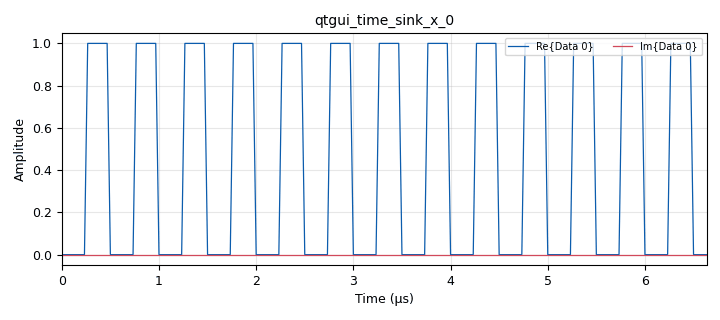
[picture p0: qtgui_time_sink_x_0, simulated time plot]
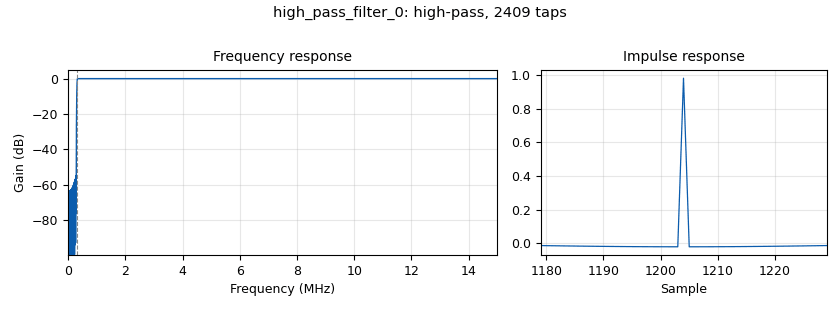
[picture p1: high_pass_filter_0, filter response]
<?xml version='1.0' encoding='utf-8'?>
<?grc format='1' created='3.7.11'?>
<flow_graph>
<block>
<key>options</key>
<param><key>id</key><value>top_block</value></param>
<param><key>generate_options</key><value>qt_gui</value></param>
</block>
<block>
<key>variable</key>
<param><key>id</key><value>LO_freq</value></param>
<param><key>value</key><value>100e6</value></param>
</block>
<block>
<key>variable</key>
<param><key>id</key><value>bw</value></param>
<param><key>value</key><value>5e6</value></param>
</block>
<block>
<key>variable</key>
<param><key>id</key><value>samp_rate</value></param>
<param><key>value</key><value>30e6</value></param>
</block>
<block>
<key>analog_sig_source_x</key>
<param><key>id</key><value>analog_sig_source_x_0</value></param>
<param><key>amp</key><value>1</value></param>
<param><key>freq</key><value>2e6</value></param>
<param><key>offset</key><value>0</value></param>
<param><key>type</key><value>float</value></param>
<param><key>samp_rate</key><value>samp_rate</value></param>
<param><key>waveform</key><value>analog.GR_SQR_WAVE</value></param>
</block>
<block>
<key>blocks_add_xx</key>
<param><key>id</key><value>blocks_add_xx_0</value></param>
<param><key>type</key><value>float</value></param>
</block>
<block>
<key>blocks_complex_to_float</key>
<param><key>id</key><value>blocks_complex_to_float_0</value></param>
</block>
<block>
<key>blocks_complex_to_float</key>
<param><key>id</key><value>blocks_complex_to_float_1</value></param>
</block>
<block>
<key>blocks_file_source</key>
<param><key>id</key><value>blocks_file_source_0</value></param>
<param><key>_enabled</key><value>0</value></param>
<param><key>file</key><value>/home/neuromap/Documents/UART_test_data_received.bin</value></param>
<param><key>type</key><value>float</value></param>
<param><key>repeat</key><value>True</value></param>
</block>
<block>
<key>blocks_float_to_complex</key>
<param><key>id</key><value>blocks_float_to_complex_0</value></param>
</block>
<block>
<key>blocks_float_to_complex</key>
<param><key>id</key><value>blocks_float_to_complex_0_0</value></param>
<param><key>_enabled</key><value>0</value></param>
</block>
<block>
<key>blocks_multiply_xx</key>
<param><key>id</key><value>blocks_multiply_xx_0</value></param>
<param><key>type</key><value>float</value></param>
</block>
<block>
<key>blocks_multiply_xx</key>
<param><key>id</key><value>blocks_multiply_xx_0_0</value></param>
<param><key>type</key><value>float</value></param>
</block>
<block>
<key>blocks_threshold_ff</key>
<param><key>id</key><value>blocks_threshold_ff_0</value></param>
<param><key>high</key><value>0.0001</value></param>
<param><key>init</key><value>0</value></param>
<param><key>low</key><value>-0.0001</value></param>
</block>
<block>
<key>high_pass_filter</key>
<param><key>id</key><value>high_pass_filter_0</value></param>
<param><key>cutoff_freq</key><value>samp_rate/100</value></param>
<param><key>type</key><value>interp_fir_filter_fff</value></param>
<param><key>gain</key><value>1</value></param>
<param><key>interp</key><value>1</value></param>
<param><key>samp_rate</key><value>samp_rate</value></param>
<param><key>width</key><value>samp_rate/1000</value></param>
<param><key>win</key><value>firdes.WIN_HAMMING</value></param>
</block>
<block>
<key>iio_fmcomms2_sink</key>
<param><key>id</key><value>iio_fmcomms2_sink_1</value></param>
<param><key>attenuation1</key><value>10</value></param>
<param><key>buffer_size</key><value>0x8000</value></param>
<param><key>cyclic</key><value>True</value></param>
<param><key>auto_filter</key><value>True</value></param>
<param><key>uri</key><value>uri_source</value></param>
<param><key>frequency</key><value>LO_freq</value></param>
<param><key>rf_port_select</key><value>"A"</value></param>
<param><key>bandwidth</key><value>bw</value></param>
<param><key>samplerate</key><value>samp_rate</value></param>
<param><key>tx1_en</key><value>True</value></param>
<param><key>tx2_en</key><value>False</value></param>
</block>
<block>
<key>iio_fmcomms2_sink</key>
<param><key>id</key><value>iio_fmcomms2_sink_1_0</value></param>
<param><key>attenuation1</key><value>10</value></param>
<param><key>buffer_size</key><value>0x8000</value></param>
<param><key>cyclic</key><value>True</value></param>
<param><key>_enabled</key><value>0</value></param>
<param><key>auto_filter</key><value>True</value></param>
<param><key>uri</key><value>uri_sink</value></param>
<param><key>frequency</key><value>LO_freq</value></param>
<param><key>rf_port_select</key><value>"A"</value></param>
<param><key>bandwidth</key><value>bw</value></param>
<param><key>samplerate</key><value>samp_rate</value></param>
<param><key>tx1_en</key><value>True</value></param>
<param><key>tx2_en</key><value>False</value></param>
</block>
<block>
<key>iio_fmcomms2_source</key>
<param><key>id</key><value>iio_fmcomms2_source_0</value></param>
<param><key>bbdc</key><value>True</value></param>
<param><key>buffer_size</key><value>0x8000</value></param>
<param><key>auto_filter</key><value>True</value></param>
<param><key>gain1</key><value>"fast_attack"</value></param>
<param><key>uri</key><value>uri_source</value></param>
<param><key>frequency</key><value>LO_freq</value></param>
<param><key>quadrature</key><value>True</value></param>
<param><key>rfdc</key><value>True</value></param>
<param><key>rf_port_select</key><value>"A_BALANCED"</value></param>
<param><key>bandwidth</key><value>2*LO_freq</value></param>
<param><key>rx1_en</key><value>True</value></param>
<param><key>rx2_en</key><value>False</value></param>
<param><key>samplerate</key><value>samp_rate</value></param>
</block>
<block>
<key>qtgui_const_sink_x</key>
<param><key>id</key><value>qtgui_const_sink_x_0</value></param>
<param><key>_enabled</key><value>0</value></param>
<param><key>grid</key><value>True</value></param>
<param><key>size</key><value>1024</value></param>
<param><key>type</key><value>complex</value></param>
</block>
<block>
<key>qtgui_time_sink_x</key>
<param><key>id</key><value>qtgui_time_sink_x_0</value></param>
<param><key>autoscale</key><value>True</value></param>
<param><key>grid</key><value>True</value></param>
<param><key>color1</key><value>"blue"</value></param>
<param><key>label1</key><value></value></param>
<param><key>color2</key><value>"red"</value></param>
<param><key>label2</key><value></value></param>
<param><key>size</key><value>200</value></param>
<param><key>srate</key><value>samp_rate</value></param>
<param><key>type</key><value>complex</value></param>
</block>
<block>
<key>qtgui_time_sink_x</key>
<param><key>id</key><value>qtgui_time_sink_x_0_0</value></param>
<param><key>autoscale</key><value>True</value></param>
<param><key>grid</key><value>True</value></param>
<param><key>color1</key><value>"blue"</value></param>
<param><key>label1</key><value></value></param>
<param><key>color2</key><value>"red"</value></param>
<param><key>label2</key><value></value></param>
<param><key>nconnections</key><value>2</value></param>
<param><key>size</key><value>200</value></param>
<param><key>srate</key><value>samp_rate</value></param>
<param><key>type</key><value>float</value></param>
</block>
<block>
<key>parameter</key>
<param><key>id</key><value>uri_sink</value></param>
<param><key>label</key><value>URI</value></param>
<param><key>type</key><value>string</value></param>
<param><key>value</key><value>'ip:192.168.0.41'</value></param>
</block>
<block>
<key>parameter</key>
<param><key>id</key><value>uri_source</value></param>
<param><key>label</key><value>URI</value></param>
<param><key>type</key><value>string</value></param>
<param><key>value</key><value>'ip:192.168.0.97'</value></param>
</block>
<connection><source_block_id>analog_sig_source_x_0</source_block_id><sink_block_id>blocks_float_to_complex_0</sink_block_id><source_key>0</source_key><sink_key>0</sink_key></connection>
<connection><source_block_id>blocks_add_xx_0</source_block_id><sink_block_id>high_pass_filter_0</sink_block_id><source_key>0</source_key><sink_key>0</sink_key></connection>
<connection><source_block_id>blocks_complex_to_float_0</source_block_id><sink_block_id>blocks_multiply_xx_0_0</sink_block_id><source_key>1</source_key><sink_key>0</sink_key></connection>
<connection><source_block_id>blocks_complex_to_float_0</source_block_id><sink_block_id>blocks_multiply_xx_0_0</sink_block_id><source_key>1</source_key><sink_key>1</sink_key></connection>
<connection><source_block_id>blocks_complex_to_float_0</source_block_id><sink_block_id>blocks_multiply_xx_0</sink_block_id><source_key>0</source_key><sink_key>0</sink_key></connection>
<connection><source_block_id>blocks_complex_to_float_0</source_block_id><sink_block_id>blocks_multiply_xx_0</sink_block_id><source_key>0</source_key><sink_key>1</sink_key></connection>
<connection><source_block_id>blocks_complex_to_float_1</source_block_id><sink_block_id>qtgui_time_sink_x_0_0</sink_block_id><source_key>0</source_key><sink_key>0</sink_key></connection>
<connection><source_block_id>blocks_file_source_0</source_block_id><sink_block_id>blocks_float_to_complex_0</sink_block_id><source_key>0</source_key><sink_key>0</sink_key></connection>
<connection><source_block_id>blocks_float_to_complex_0</source_block_id><sink_block_id>iio_fmcomms2_sink_1</sink_block_id><source_key>0</source_key><sink_key>0</sink_key></connection>
<connection><source_block_id>blocks_float_to_complex_0</source_block_id><sink_block_id>qtgui_const_sink_x_0</sink_block_id><source_key>0</source_key><sink_key>0</sink_key></connection>
<connection><source_block_id>blocks_float_to_complex_0</source_block_id><sink_block_id>qtgui_time_sink_x_0</sink_block_id><source_key>0</source_key><sink_key>0</sink_key></connection>
<connection><source_block_id>blocks_float_to_complex_0_0</source_block_id><sink_block_id>iio_fmcomms2_sink_1_0</sink_block_id><source_key>0</source_key><sink_key>0</sink_key></connection>
<connection><source_block_id>blocks_multiply_xx_0</source_block_id><sink_block_id>blocks_add_xx_0</sink_block_id><source_key>0</source_key><sink_key>0</sink_key></connection>
<connection><source_block_id>blocks_multiply_xx_0_0</source_block_id><sink_block_id>blocks_add_xx_0</sink_block_id><source_key>0</source_key><sink_key>1</sink_key></connection>
<connection><source_block_id>blocks_threshold_ff_0</source_block_id><sink_block_id>blocks_float_to_complex_0_0</sink_block_id><source_key>0</source_key><sink_key>0</sink_key></connection>
<connection><source_block_id>blocks_threshold_ff_0</source_block_id><sink_block_id>qtgui_time_sink_x_0_0</sink_block_id><source_key>0</source_key><sink_key>1</sink_key></connection>
<connection><source_block_id>high_pass_filter_0</source_block_id><sink_block_id>blocks_threshold_ff_0</sink_block_id><source_key>0</source_key><sink_key>0</sink_key></connection>
<connection><source_block_id>iio_fmcomms2_source_0</source_block_id><sink_block_id>blocks_complex_to_float_0</sink_block_id><source_key>0</source_key><sink_key>0</sink_key></connection>
<connection><source_block_id>iio_fmcomms2_source_0</source_block_id><sink_block_id>blocks_complex_to_float_1</sink_block_id><source_key>0</source_key><sink_key>0</sink_key></connection>
</flow_graph>
